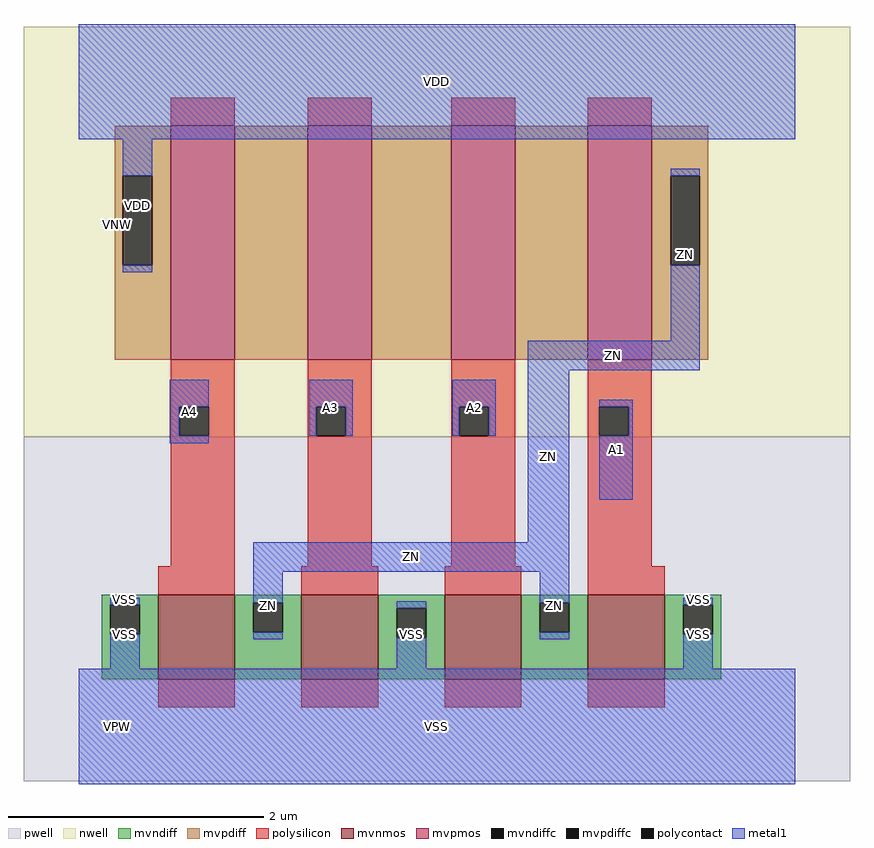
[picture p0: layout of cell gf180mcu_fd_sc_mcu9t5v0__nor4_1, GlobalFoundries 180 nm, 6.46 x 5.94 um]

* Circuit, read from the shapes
.subckt gf180mcu_fd_sc_mcu9t5v0__nor4_1 A1 A2 A3 A4 ZN VDD VNW VPW VSS
XM1 ZN A4 VSS VPW nfet_06v0 w=0.66u l=0.6u
XM2 VSS A3 ZN VPW nfet_06v0 w=0.66u l=0.6u
XM3 ZN A2 VSS VPW nfet_06v0 w=0.66u l=0.6u
XM4 VSS A1 ZN VPW nfet_06v0 w=0.66u l=0.6u
XM5 n1 A4 VDD VNW pfet_06v0 w=1.83u l=0.5u
XM6 n2 A3 n1 VNW pfet_06v0 w=1.83u l=0.5u
XM7 n3 A2 n2 VNW pfet_06v0 w=1.83u l=0.5u
XM8 ZN A1 n3 VNW pfet_06v0 w=1.83u l=0.5u
.ends

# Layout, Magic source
magic
tech gf180mcuD
magscale 1 10
<< nwell >>
rect -86 453 1206 1094
<< pwell >>
rect -86 -86 1206 453
<< mvnmos >>
rect 124 74 244 206
rect 348 74 468 206
rect 572 74 692 206
rect 796 74 916 206
<< mvpmos >>
rect 144 573 244 939
rect 358 573 458 939
rect 582 573 682 939
rect 796 573 896 939
<< mvndiff >>
rect 36 190 124 206
rect 36 144 49 190
rect 95 144 124 190
rect 36 74 124 144
rect 244 193 348 206
rect 244 147 273 193
rect 319 147 348 193
rect 244 74 348 147
rect 468 185 572 206
rect 468 139 497 185
rect 543 139 572 185
rect 468 74 572 139
rect 692 193 796 206
rect 692 147 721 193
rect 767 147 796 193
rect 692 74 796 147
rect 916 190 1004 206
rect 916 144 945 190
rect 991 144 1004 190
rect 916 74 1004 144
<< mvpdiff >>
rect 56 861 144 939
rect 56 721 69 861
rect 115 721 144 861
rect 56 573 144 721
rect 244 573 358 939
rect 458 573 582 939
rect 682 573 796 939
rect 896 861 984 939
rect 896 721 925 861
rect 971 721 984 861
rect 896 573 984 721
<< mvndiffc >>
rect 49 144 95 190
rect 273 147 319 193
rect 497 139 543 185
rect 721 147 767 193
rect 945 144 991 190
<< mvpdiffc >>
rect 69 721 115 861
rect 925 721 971 861
<< polysilicon >>
rect 144 939 244 983
rect 358 939 458 983
rect 582 939 682 983
rect 796 939 896 983
rect 144 500 244 573
rect 144 454 157 500
rect 203 454 244 500
rect 144 250 244 454
rect 358 500 458 573
rect 358 454 371 500
rect 417 454 458 500
rect 358 250 458 454
rect 582 500 682 573
rect 582 454 595 500
rect 641 454 682 500
rect 582 250 682 454
rect 796 500 896 573
rect 796 454 814 500
rect 860 454 896 500
rect 796 250 896 454
rect 124 206 244 250
rect 348 206 468 250
rect 572 206 692 250
rect 796 206 916 250
rect 124 30 244 74
rect 348 30 468 74
rect 572 30 692 74
rect 796 30 916 74
<< polycontact >>
rect 157 454 203 500
rect 371 454 417 500
rect 595 454 641 500
rect 814 454 860 500
<< metal1 >>
rect 0 918 1120 1098
rect 69 861 115 918
rect 69 710 115 721
rect 925 861 971 872
rect 925 603 971 721
rect 702 557 971 603
rect 142 500 203 542
rect 142 454 157 500
rect 360 500 428 542
rect 360 454 371 500
rect 417 454 428 500
rect 584 500 652 542
rect 584 454 595 500
rect 641 454 652 500
rect 142 443 203 454
rect 702 288 767 557
rect 814 500 866 511
rect 860 454 866 500
rect 814 354 866 454
rect 273 242 767 288
rect 49 190 95 201
rect 49 90 95 144
rect 273 193 319 242
rect 273 136 319 147
rect 497 185 543 196
rect 497 90 543 139
rect 721 193 767 242
rect 721 136 767 147
rect 945 190 991 201
rect 945 90 991 144
rect 0 -90 1120 90
<< labels >>
flabel metal1 s 814 354 866 511 0 FreeSans 200 0 0 0 A1
port 1 nsew default input
flabel metal1 s 584 454 652 542 0 FreeSans 200 0 0 0 A2
port 2 nsew default input
flabel metal1 s 360 454 428 542 0 FreeSans 200 0 0 0 A3
port 3 nsew default input
flabel metal1 s 142 443 203 542 0 FreeSans 200 0 0 0 A4
port 4 nsew default input
flabel metal1 s 0 918 1120 1098 0 FreeSans 200 0 0 0 VDD
port 6 nsew power bidirectional abutment
flabel metal1 s 945 196 991 201 0 FreeSans 200 0 0 0 VSS
port 9 nsew ground bidirectional abutment
flabel metal1 s 925 603 971 872 0 FreeSans 200 0 0 0 ZN
port 5 nsew default output
flabel nwell s 10 734 110 834 0 FreeSans 400 0 0 0 VNW
port 7 nsew power bidirectional
flabel pwell s 10 -50 110 50 0 FreeSans 400 0 0 0 VPW
port 8 nsew ground bidirectional
rlabel metal1 s 702 557 971 603 1 ZN
port 5 nsew default output
rlabel metal1 s 702 288 767 557 1 ZN
port 5 nsew default output
rlabel metal1 s 273 242 767 288 1 ZN
port 5 nsew default output
rlabel metal1 s 721 136 767 242 1 ZN
port 5 nsew default output
rlabel metal1 s 273 136 319 242 1 ZN
port 5 nsew default output
rlabel metal1 s 69 710 115 918 1 VDD
port 6 nsew power bidirectional abutment
rlabel metal1 s 49 196 95 201 1 VSS
port 9 nsew ground bidirectional abutment
rlabel metal1 s 945 90 991 196 1 VSS
port 9 nsew ground bidirectional abutment
rlabel metal1 s 497 90 543 196 1 VSS
port 9 nsew ground bidirectional abutment
rlabel metal1 s 49 90 95 196 1 VSS
port 9 nsew ground bidirectional abutment
rlabel metal1 s 0 -90 1120 90 1 VSS
port 9 nsew ground bidirectional abutment
<< properties >>
string FIXED_BBOX 0 0 1120 1008
string GDS_END 101836
string GDS_FILE $PDKPATH/libs.ref/gf180mcu_fd_sc_mcu9t5v0/gds/gf180mcu_fd_sc_mcu9t5v0.gds
string GDS_START 98524
string LEFclass core
string LEFsite GF018hv5v_green_sc9
string LEFsymmetry X Y
<< end >>
